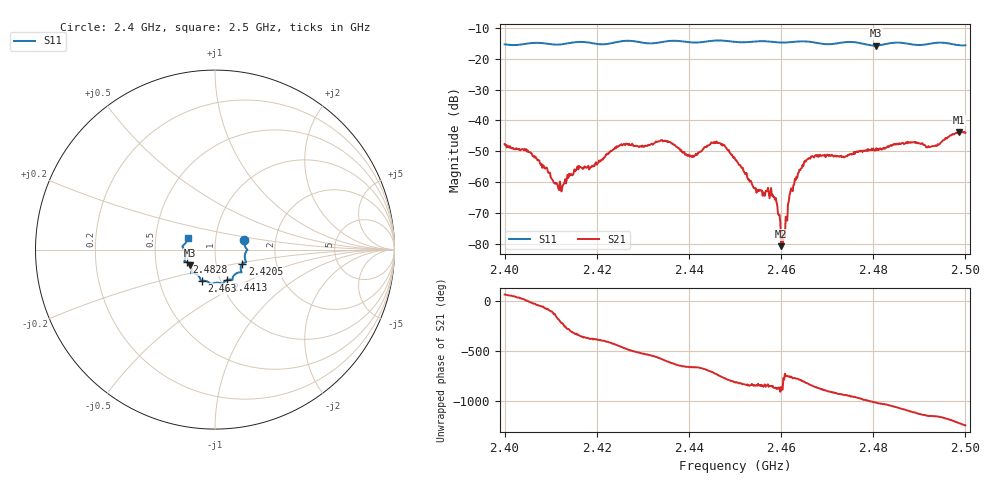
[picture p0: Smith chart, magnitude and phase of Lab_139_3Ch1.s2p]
# Hz S RI R 50
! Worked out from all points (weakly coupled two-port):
!   601 points, 2.4 GHz to 2.5 GHz, reference 50 ohm
!   highest |S21| = -43.79 dB at 2.4987 GHz (marker M1); lowest = -80.8 dB at 2.46 GHz (marker M2)
!   lowest |S11| = -15.7 dB at 2.4805 GHz (marker M3), VSWR 1.39, Z = 37.4 - j6.66 ohm
!   |S11| at or under -10 dB: start of sweep to end of sweep
!   S12 and S22 are empty: the file has one direction only
!   S11 on the Smith chart (normalised r, x): 2.4 GHz: 1.38, +0.15; 2.4205 GHz: 1.34, -0.22; 2.4413 GHz: 1.08, -0.38; 2.463 GHz: 0.82, -0.29; 2.4828 GHz: 0.72, -0.10; 2.5 GHz: 0.73, +0.10
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2.4e9  0.1623 0.0524  0.00185 0.00369  0 0  0 0
2.4055e9  0.178 0.00245  0.003 -0.000642  0 0  0 0
2.412e9  0.166 -0.0367  -0.00093 0.000419  0 0  0 0
2.416667e9  0.1737 -0.0694  0.0017 0.000188  0 0  0 0
2.4205e9  0.1516 -0.0808  0.00191 -0.00117  0 0  0 0
2.424833e9  0.146 -0.1205  -1.86e-05 -0.00382  0 0  0 0
2.433333e9  0.1003 -0.1518  -0.004 0.00219  0 0  0 0
2.441333e9  0.0674 -0.1696  0.0015 0.00228  0 0  0 0
2.446167e9  0.0419 -0.1928  0.00406 -0.00142  0 0  0 0
2.45e9  0.0246 -0.1854  -8.61e-05 -0.00236  0 0  0 0
2.454333e9  -0.013 -0.1898  -0.000483 -0.000613  0 0  0 0
2.458333e9  -0.0328 -0.1841  -0.000485 -0.000306  0 0  0 0
2.46e9  -0.0463 -0.1767  -7.12e-05 -5.75e-05  0 0  0 0
2.460833e9  -0.0543 -0.1742  0.000131 -1.88e-05  0 0  0 0
2.462e9  -0.0648 -0.1732  0.000486 -0.000483  0 0  0 0
2.463e9  -0.0723 -0.1735  0.000698 -0.000887  0 0  0 0
2.466667e9  -0.0813 -0.1673  -0.00158 -0.00208  0 0  0 0
2.4805e9  -0.1382 -0.0868  0.0015 0.00294  0 0  0 0
2.482833e9  -0.1586 -0.0703  0.00256 0.00253  0 0  0 0
2.483333e9  -0.1625 -0.0686  0.00295 0.00222  0 0  0 0
2.498667e9  -0.1584 0.0454  -0.00517 -0.00388  0 0  0 0
2.5e9  -0.1516 0.064  -0.00611 -0.00157  0 0  0 0
